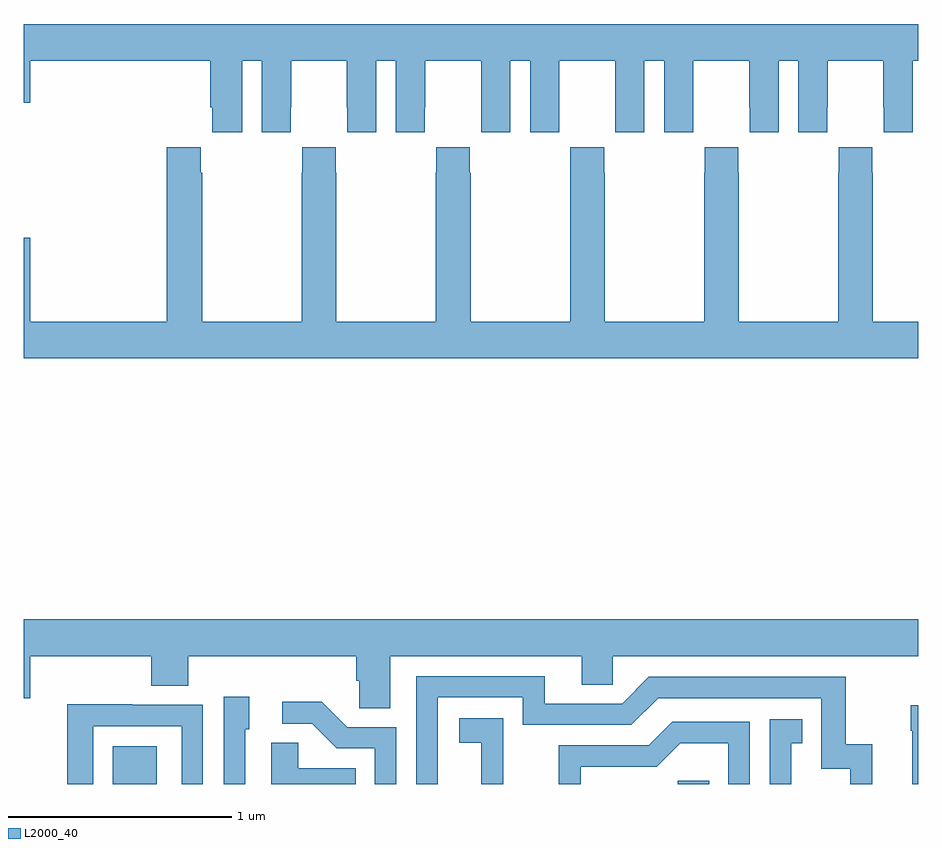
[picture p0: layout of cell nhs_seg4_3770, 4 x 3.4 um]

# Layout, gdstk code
import gdstk
lib = gdstk.Library(unit=1e-6, precision=1e-09)
def R(c, l, rs):  # rectangles x0, y0, x1, y1
    for r in rs: c.add(gdstk.rectangle(r[:2], r[2:], *l))
def P(c, l, *ps):  # polygons
    for p in ps: c.add(gdstk.Polygon(p, *l))
L2000_40 = (2000, 40)

nhs_seg4_3770 = lib.new_cell('nhs_seg4_3770')
R(nhs_seg4_3770, L2000_40, [(309.398,810.9,309.595,811.069), (311.925,810.9,312.065,810.915)])
P(nhs_seg4_3770, L2000_40, [(309.976,814.136),(310.064,814.136),(310.064,813.816),(310.194,813.816),(310.194,813.928),(310.195,813.928),(310.195,814.136),(310.445,814.136),(310.445,813.928),(310.446,813.928),(310.446,813.816),(310.576,813.816),(310.576,814.136),(310.664,814.136),(310.664,813.816),(310.794,813.816),(310.794,813.928),(310.795,813.928),(310.795,814.136),(311.045,814.136),(311.045,813.928),(311.046,813.928),(311.046,813.816),(311.176,813.816),(311.176,814.136),(311.264,814.136),(311.264,813.816),(311.394,813.816),(311.394,813.928),(311.395,813.928),(311.395,814.136),(311.645,814.136),(311.645,813.928),(311.646,813.928),(311.646,813.816),(311.776,813.816),(311.776,814.136),(311.864,814.136),(311.864,813.816),(311.994,813.816),(311.994,813.928),(311.995,813.928),(311.995,814.136),(312.245,814.136),(312.245,813.928),(312.246,813.928),(312.246,813.816),(312.376,813.816),(312.376,814.136),(312.464,814.136),(312.464,813.816),(312.594,813.816),(312.594,813.928),(312.595,813.928),(312.595,814.136),(312.845,814.136),(312.845,813.928),(312.846,813.928),(312.846,813.816),(312.976,813.816),(312.976,814.136),(313,814.136),(313,814.3),(309,814.3),(309,813.948),(309.028,813.948),(309.028,814.136),(309.833,814.136),(309.833,813.928),(309.842,813.928),(309.842,813.816),(309.976,813.816)],
  [(313,812.968),(312.798,812.968),(312.798,813.635),(312.795,813.635),(312.795,813.748),(312.645,813.748),(312.645,813.635),(312.643,813.635),(312.643,812.968),(312.198,812.968),(312.198,813.635),(312.195,813.635),(312.195,813.748),(312.045,813.748),(312.045,813.635),(312.043,813.635),(312.043,812.968),(311.598,812.968),(311.598,813.635),(311.595,813.635),(311.595,813.748),(311.445,813.748),(311.445,813.635),(311.443,813.635),(311.443,812.968),(310.998,812.968),(310.998,813.635),(310.995,813.635),(310.995,813.748),(310.845,813.748),(310.845,813.635),(310.843,813.635),(310.843,812.968),(310.398,812.968),(310.398,813.635),(310.395,813.635),(310.395,813.748),(310.245,813.748),(310.245,813.635),(310.243,813.635),(310.243,812.968),(309.798,812.968),(309.798,813.635),(309.791,813.635),(309.791,813.748),(309.638,813.748),(309.638,812.968),(309.028,812.968),(309.028,813.343),(309,813.343),(309,812.804),(313,812.804)],
  [(310.639,811.472),(311.495,811.472),(311.495,811.345),(311.634,811.345),(311.634,811.472),(313,811.472),(313,811.636),(309,811.636),(309,811.284),(309.028,811.284),(309.028,811.472),(309.569,811.472),(309.569,811.339),(309.734,811.339),(309.734,811.472),(310.487,811.472),(310.487,811.363),(310.5,811.363),(310.5,811.24),(310.639,811.24)],
  [(310.851,811.287),(311.232,811.287),(311.232,811.164),(311.718,811.164),(311.838,811.284),(312.567,811.284),(312.567,810.969),(312.696,810.969),(312.696,810.9),(312.794,810.9),(312.794,811.078),(312.676,811.078),(312.676,811.38),(311.796,811.38),(311.676,811.26),(311.329,811.26),(311.329,811.383),(310.755,811.383),(310.755,810.9),(310.851,810.9)],
  [(309.99,811.146),(310.009,811.146),(310.009,811.291),(309.894,811.291),(309.894,810.9),(309.99,810.9)],
  [(310.665,811.155),(310.446,811.155),(310.333,811.268),(310.155,811.268),(310.155,811.17),(310.289,811.17),(310.4,811.059),(310.569,811.059),(310.569,810.9),(310.665,810.9)],
  [(309.309,811.158),(309.705,811.158),(309.705,810.9),(309.801,810.9),(309.801,811.254),(309.485,811.254),(309.485,811.256),(309.193,811.256),(309.193,810.9),(309.309,810.9)],
  [(313,811.252),(312.967,811.252),(312.967,811.139),(312.974,811.139),(312.974,810.9),(313,810.9)],
  [(311.144,810.989),(311.145,810.989),(311.145,811.195),(310.947,811.195),(310.947,811.085),(311.045,811.085),(311.045,810.9),(311.144,810.9)],
  [(312.433,811.083),(312.482,811.083),(312.482,811.189),(312.336,811.189),(312.336,810.9),(312.433,810.9)],
  [(311.49,810.978),(311.832,810.978),(311.936,811.082),(312.15,811.082),(312.15,810.9),(312.246,810.9),(312.246,811.179),(311.9,811.179),(311.795,811.074),(311.392,811.074),(311.392,810.9),(311.49,810.9)],
  [(310.484,810.97),(310.227,810.97),(310.227,811.085),(310.106,811.085),(310.106,810.9),(310.484,810.9)])

lib.write_gds('nhs_seg4_3770.gds')
